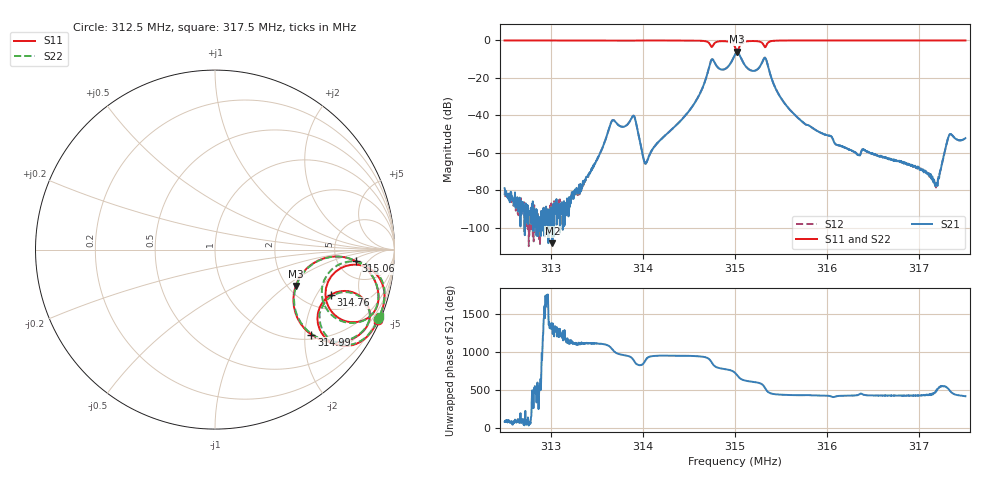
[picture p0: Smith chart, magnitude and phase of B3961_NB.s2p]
! Matrix data file written by TouchstoneData, EPCOS AG
! FILENAME: "B3961_NB.s2p"
! COMMENT: "(LU38B_NB.s2p) EPCOS AG 02.07.2010 10:44:17"
! INFO: nport=2, nfreq=1601
! DATE: "Wed Feb  1 14:29:33 2012"
! USER: "Wilfried Schott"
! port | pin | signal
!  1  |  1  |  IN
!  2  |  3  |  OUT
# MHZ S MA R 50
! freq  magS11 angS11  magS21 angS21  magS12 angS12  magS22 angS22
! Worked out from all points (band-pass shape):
!   1601 points, 312.5 MHz to 317.5 MHz, reference 50 ohm
!   highest |S21| = -6.29 dB at 315.02 MHz (marker M1); lowest = -108.4 dB at 313.02 MHz (marker M2)
!   |S21| within 3 dB of the highest: 314.9834 MHz to 315.0633 MHz (79.87 kHz wide, 0.0254 % of centre)
!   lowest |S11| = -6.1 dB at 315.02 MHz (marker M3), VSWR 2.94, Z = 110 - j58.8 ohm
!   |S11| at or under -10 dB: nowhere
!   |S22| runs from -6.1 to -0.1 dB; largest |S21 - S12| = 0.0044
!   S11 on the Smith chart (normalised r, x): 312.5 MHz: 0.13, -4.80; 314.76 MHz: 2.75, -2.66; 314.99 MHz: 1.11, -2.16; 315.06 MHz: 7.51, -2.55; 317.5 MHz: 0.14, -5.08
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312.5  0.9896 -23.5  0.0001132 85.8  7.402e-05 90.5  0.9886 -23.2
313.0188  0.9896 -23.8  3.801e-06 -95.7  1.307e-05 -57.6  0.9884 -23.5
313.3344  0.9895 -24.1  0.0001144 51.6  0.0001162 31.6  0.9879 -23.7
313.675  0.9821 -24.4  0.007442 -50.7  0.007508 -50.9  0.9811 -24.0
313.9031  0.9791 -24.7  0.009576 168.4  0.00968 168.2  0.9783 -24.4
314.0281  0.9884 -24.9  0.0005176 170.8  0.0005204 173.7  0.987 -24.5
314.1687  0.9882 -25.3  0.001932 -124.9  0.001949 -124.4  0.9868 -25.0
314.5469  0.982 -28.4  0.01865 -129.2  0.01864 -129.3  0.9809 -28.0
314.7563  0.6921 -21.3  0.3092 128.6  0.3116 128.5  0.7002 -21.7
314.875  0.9482 -26.8  0.166 61.1  0.1662 61.2  0.9464 -26.8
314.9937  0.7166 -41.4  0.3895 16.1  0.3892 16.5  0.7126 -41.1
315  0.662 -41.4  0.4187 9.4  0.4191 9.8  0.6582 -41.0
315.0219  0.4927 -24.3  0.4848 -20.9  0.4888 -20.7  0.4952 -23.7
315.0625  0.7871 -4.7  0.3464 -70.4  0.346 -70.7  0.7856 -4.6
315.1938  0.9564 -19.3  0.153 -109.8  0.1531 -109.8  0.9551 -19.3
315.3281  0.6546 -16.1  0.339 164.9  0.3426 164.8  0.6314 -15.8
315.5156  0.9858 -17.2  0.02492 79.6  0.02491 79.7  0.9841 -16.7
315.8344  0.9898 -20.0  0.004719 72.2  0.00469 73.0  0.9885 -19.6
316.6687  0.9903 -21.7  0.0006692 70.5  0.0006693 69.1  0.989 -21.3
317.175  0.9901 -22.1  0.0001317 119.0  0.0001401 121.3  0.9888 -21.8
317.3281  0.9869 -22.1  0.003044 139.2  0.003088 139.4  0.986 -21.8
317.5  0.9893 -22.2  0.002455 60.4  0.002453 60.2  0.9883 -22.0
